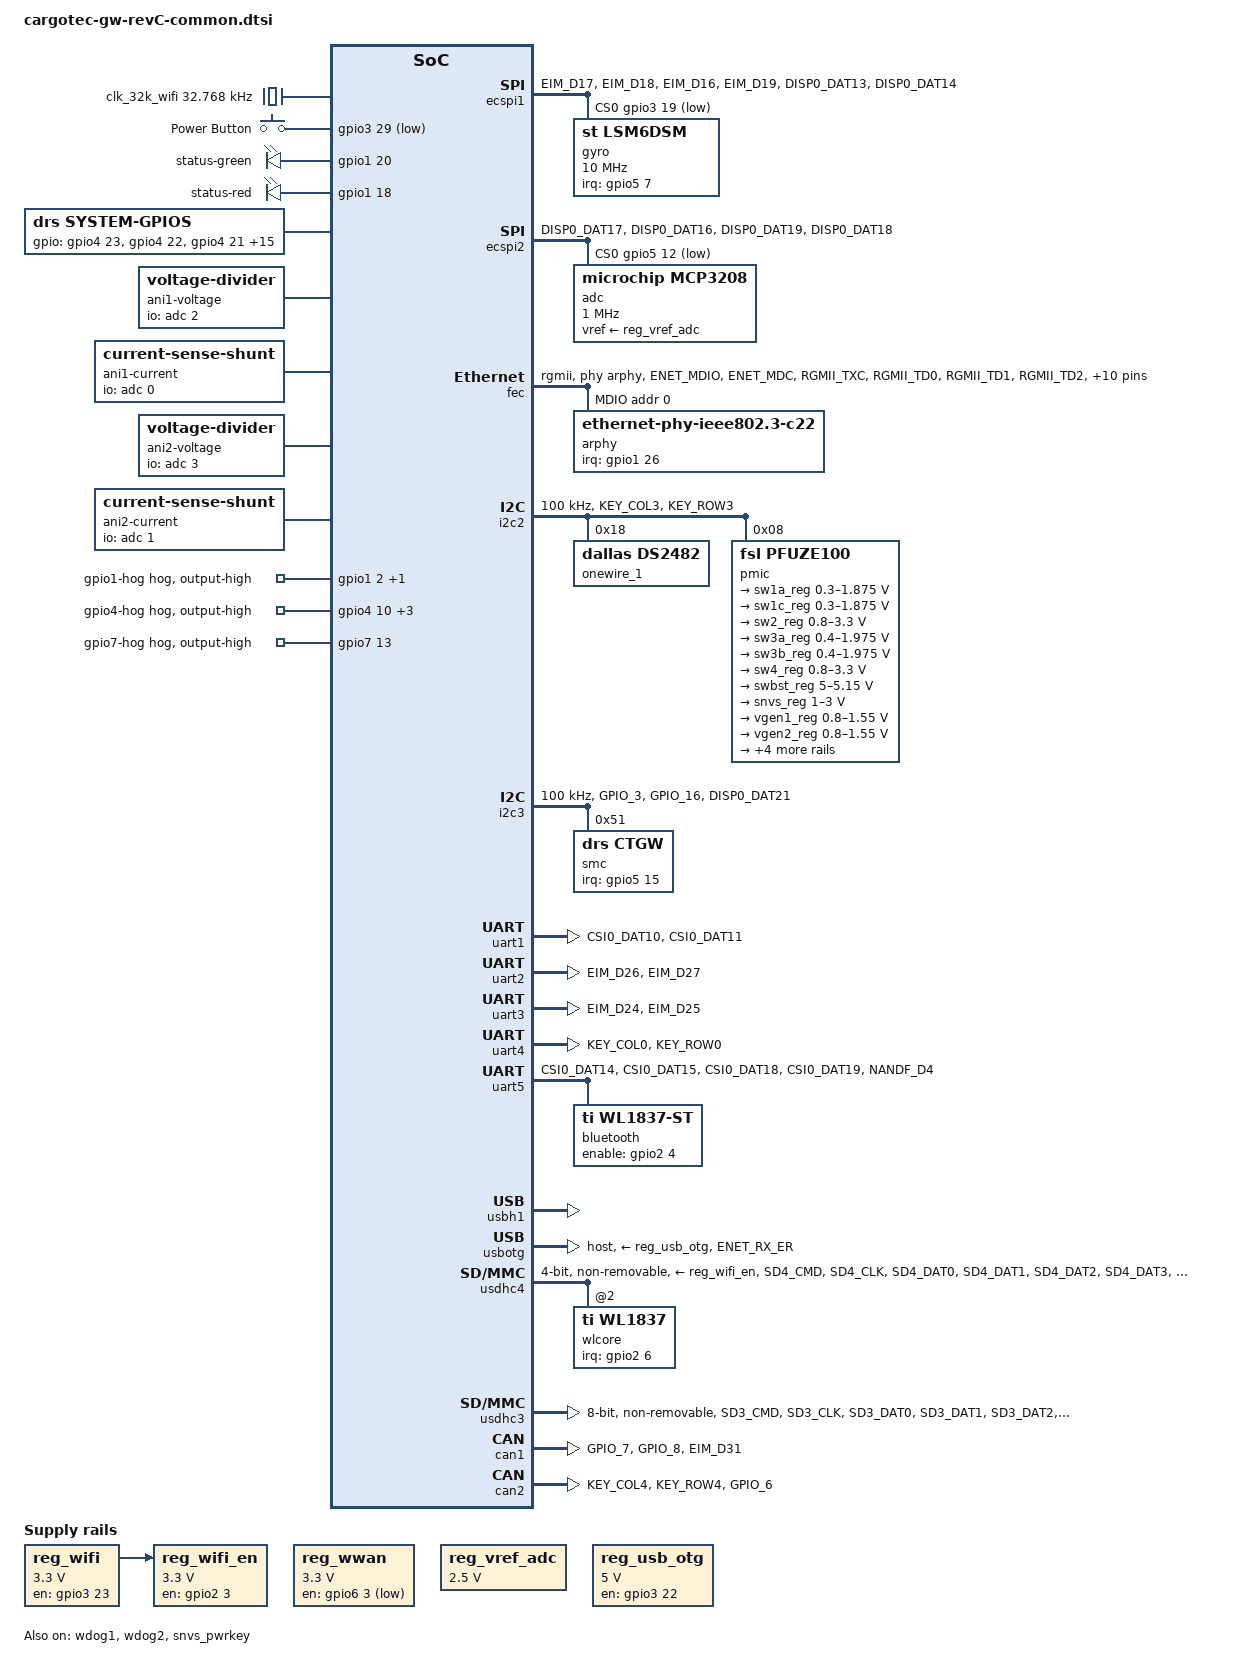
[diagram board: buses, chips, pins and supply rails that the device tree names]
/*
 * Copyright DATA RESPONS AS
 *
 * The code contained herein is licensed under the GNU General Public
 * License. You may obtain a copy of the GNU General Public License
 * Version 2 or later at the following locations:
 *
 * http://www.opensource.org/licenses/gpl-license.html
 * http://www.gnu.org/copyleft/gpl.html
 */

#include <dt-bindings/gpio/gpio.h>
#include <dt-bindings/interrupt-controller/irq.h>
#include <dt-bindings/input/input.h>

/ {
	aliases {
		rtc0 = &smc;
		rtc1 = &snvs_rtc;
		mmc0 = &usdhc3;
		mmc1 = &usdhc4;
	};

	chosen {
		stdout-path = &uart1;
	};

	reg_wifi: wifi_pwr {
		compatible = "regulator-fixed";
		pinctrl-names = "default";
		pinctrl-0 = <&pinctrl_reg_wifi>;
		regulator-name = "reg_wifi";
		regulator-min-microvolt = <3300000>;
		regulator-max-microvolt = <3300000>;
		gpio = <&gpio3 23 GPIO_ACTIVE_HIGH>;
		enable-active-high;
		regulator-always-on;
	};

	reg_wifi_en: wifi_enable {
		compatible = "regulator-fixed";
		pinctrl-names = "default";
		pinctrl-0 = <&pinctrl_reg_wifi_en>;
		regulator-name = "reg_wifi_enable";
		regulator-min-microvolt = <3300000>;
		regulator-max-microvolt = <3300000>;
		gpio = <&gpio2 3 GPIO_ACTIVE_HIGH>;
		enable-active-high;
		vin-supply = <&reg_wifi>;
		startup-delay-us = <50000>;
	};

	reg_wwan: wwan_enable {
		compatible = "regulator-fixed";
		pinctrl-names = "default";
		pinctrl-0 = <&pinctrl_reg_wwan>;
		regulator-name = "reg_wwan_enable";
		regulator-min-microvolt = <3300000>;
		regulator-max-microvolt = <3300000>;
		gpio = <&gpio6 3 GPIO_ACTIVE_HIGH>;
		enable-active-low;
		startup-delay-us = <300>;
		regulator-always-on;
	};

	reg_vref_adc: regulator-vref-adc {
		compatible = "regulator-fixed";
		regulator-name = "vref-adc";
		regulator-min-microvolt = <2500000>;
		regulator-max-microvolt = <2500000>;
	};

	reg_usb_otg: reg-usb-otg {
		compatible = "regulator-fixed";
		pinctrl-names = "default";
		pinctrl-0 = <&pinctrl_reg_usb_otg>;
		regulator-name = "reg_usb_otg";
		regulator-min-microvolt = <5000000>;
		regulator-max-microvolt = <5000000>;
		gpio = <&gpio3 22 GPIO_ACTIVE_HIGH>;
		enable-active-high;
		regulator-always-on;
	};

	clk_32k_wifi: clk-32k-wifi {
		compatible = "fixed-clock";
		#clock-cells = <0>;
		clock-frequency = <32768>;
	};

	gpio-keys {
		compatible = "gpio-keys";
		pinctrl-names = "default";
		pinctrl-0 = <&pinctrl_gpio_keys>;
		power {
			label = "Power Button";
			gpios = <&gpio3 29 GPIO_ACTIVE_LOW>;
			wakeup-source;
			linux,code = <KEY_POWER>;
		};
	};

	leds {
    	compatible = "gpio-leds";
		pinctrl-names = "default";
		pinctrl-0 = <&pinctrl_leds>;
		status-green {
			label = "status-green";
			gpios = <&gpio1 20 GPIO_ACTIVE_HIGH>;
		};
		status-red {
			label = "status-red";
			gpios = <&gpio1 18 GPIO_ACTIVE_HIGH>;
		};
    };

	system-gpios {
		pinctrl-names = "default";
		pinctrl-0 = <&pinctrl_system>;
		compatible = "drs,system-gpios";

		gpios = <&gpio4 23 GPIO_ACTIVE_HIGH>,
				<&gpio4 22 GPIO_ACTIVE_HIGH>,
				<&gpio4 21 GPIO_ACTIVE_HIGH>,
				<&gpio5 16 GPIO_ACTIVE_HIGH>,
				<&gpio5 17 GPIO_ACTIVE_HIGH>,
				<&gpio1 12 GPIO_ACTIVE_HIGH>,
				<&gpio1 14 GPIO_ACTIVE_HIGH>,
				<&gpio1 13 GPIO_ACTIVE_HIGH>,
				<&gpio4 26 GPIO_ACTIVE_HIGH>,
				<&gpio4 24 GPIO_ACTIVE_HIGH>,
				<&gpio4 25 GPIO_ACTIVE_HIGH>,
				<&gpio1 4 GPIO_ACTIVE_HIGH>,
				<&gpio6 2 GPIO_ACTIVE_HIGH>,
				<&gpio4 17 GPIO_ACTIVE_HIGH>,
				<&gpio4 27 GPIO_ACTIVE_LOW>,
				<&smc 0 GPIO_ACTIVE_HIGH>,
				<&smc 1 GPIO_ACTIVE_HIGH>,
				<&smc 2 GPIO_ACTIVE_HIGH>;
		gpio-line-names =	"sys_hw_setting0",
							"sys_hw_setting1",
							"sys_hw_setting2",
							"sys_ani1_current",
							"sys_ani2_current",
							"sys_gpi1",
							"sys_gpi2",
							"sys_gpi3",
							"sys_gps_antenna_power",
							"sys_gpo1",
							"sys_gpo2",
							"sys_mcu_reset",
							"sys_mcu_pwr_override",
							"sys_mcu_boot0",
							"sys_wwan_rst",
							"sys_gpo3",
							"sys_gpo4",
							"sys_ignition";
	};

	ani1-voltage {
		compatible = "voltage-divider";
		io-channels = <&adc 2>;
		output-ohms = <220>;
		full-ohms = <970>;
	};

	ani1-current {
		compatible = "current-sense-shunt";
		io-channels = <&adc 0>;
		shunt-resistor-micro-ohms = <100000000>;
	};

	ani2-voltage {
		compatible = "voltage-divider";
		io-channels = <&adc 3>;
		output-ohms = <220>;
		full-ohms = <970>;
	};

	ani2-current {
		compatible = "current-sense-shunt";
		io-channels = <&adc 1>;
		shunt-resistor-micro-ohms = <100000000>;
	};
};

&gpio1 {
	pinctrl-names = "default";
	pinctrl-0 = <&pinctrl_gpio1_hog>;

	gpio1-hog {
		gpio-hog;
		gpios = <2 GPIO_ACTIVE_HIGH>,
				<9 GPIO_ACTIVE_HIGH>;
		output-high;
		line-name = "gpio1-hog";
	};
};

&gpio4 {
	pinctrl-names = "default";
	pinctrl-0 = <&pinctrl_gpio4_hog>;

	gpio4-hog {
		gpio-hog;
		gpios = <10 GPIO_ACTIVE_HIGH>,
				<12 GPIO_ACTIVE_HIGH>,
				<18 GPIO_ACTIVE_HIGH>,
				<19 GPIO_ACTIVE_HIGH>;
		output-high;
		line-name = "gpio4-hog";
	};
};

&gpio7 {
	pinctrl-names = "default";
	pinctrl-0 = <&pinctrl_gpio7_hog>;

	gpio7-hog {
		gpio-hog;
		gpios = <13 GPIO_ACTIVE_HIGH>;
		output-high;
		line-name = "gpio7-hog";
	};
};

&ecspi1 {
	pinctrl-names = "default";
	pinctrl-0 = <&pinctrl_ecspi1>;
	cs-gpios = <&gpio3 19 GPIO_ACTIVE_LOW>;
	status = "okay";

	gyro: st-gyro-spi@0 {
		reg = <0>;
		compatible = "st,lsm6dsm";
		spi-max-frequency = <10000000>;
		interrupt-parent = <&gpio5>;
		interrupts = <7 IRQ_TYPE_EDGE_RISING>, <8 IRQ_TYPE_EDGE_RISING>;
	};
};

&ecspi2 {
	pinctrl-names = "default";
	pinctrl-0 = <&pinctrl_ecspi2>;
	cs-gpios = <&gpio5 12 GPIO_ACTIVE_LOW>;
	status = "okay";

	adc: mcp3208@0 {
		#io-channel-cells = <1>;
		reg = <0>;
		compatible = "microchip,mcp3208";
		spi-max-frequency = <1000000>;
		vref-supply = <&reg_vref_adc>;
	};
};

&fec {
	pinctrl-names = "default";
	pinctrl-0 = <&pinctrl_enet>;
	phy-mode = "rgmii";
	status = "okay";
	phy-handle = <&arphy>;
	mdio {
		#address-cells = <1>;
		#size-cells = <0>;
		arphy: ethernet-phy@0 {
			compatible = "ethernet-phy-ieee802.3-c22";
			reg = <0x0>;
			max-speed = <100>;
			interrupt-parent = <&gpio1>;
			interrupts = <26 IRQ_TYPE_EDGE_FALLING>;
		};
	};
};

&wdog1 {
	status = "okay";
};

&wdog2 {
	pinctrl-names = "default";
	pinctrl-0 = <&pinctrl_wdog>;
	status = "okay";
};

&i2c2 {
	clock-frequency = <100000>;
	pinctrl-names = "default";
	pinctrl-0 = <&pinctrl_i2c2>;
	status = "okay";

	onewire_1: ds2482@18 {
		reg = <0x18>;
		compatible = "dallas,ds2482";
	};

	pmic: pfuze100@8 {
		compatible = "fsl,pfuze100";
		reg = <0x08>;

		regulators {
			sw1a_reg: sw1ab {
				regulator-min-microvolt = <300000>;
				regulator-max-microvolt = <1875000>;
				regulator-boot-on;
				regulator-always-on;
				regulator-ramp-delay = <6250>;
			};

			sw1c_reg: sw1c {
				regulator-min-microvolt = <300000>;
				regulator-max-microvolt = <1875000>;
				regulator-boot-on;
				regulator-always-on;
				regulator-ramp-delay = <6250>;
			};

			sw2_reg: sw2 {
				regulator-min-microvolt = <800000>;
				regulator-max-microvolt = <3300000>;
				regulator-boot-on;
				regulator-always-on;
			};

			sw3a_reg: sw3a {
				regulator-min-microvolt = <400000>;
				regulator-max-microvolt = <1975000>;
				regulator-boot-on;
				regulator-always-on;
			};

			sw3b_reg: sw3b {
				regulator-min-microvolt = <400000>;
				regulator-max-microvolt = <1975000>;
				regulator-boot-on;
				regulator-always-on;
			};

			sw4_reg: sw4 {
				regulator-min-microvolt = <800000>;
				regulator-max-microvolt = <3300000>;
				regulator-boot-on;
				regulator-always-on;
			};

			swbst_reg: swbst {
				regulator-min-microvolt = <5000000>;
				regulator-max-microvolt = <5150000>;
				regulator-boot-on;
				regulator-always-on;
			};

			snvs_reg: vsnvs {
				regulator-min-microvolt = <1000000>;
				regulator-max-microvolt = <3000000>;
				regulator-boot-on;
				regulator-always-on;
			};

			vref_reg: vrefddr {
				regulator-boot-on;
				regulator-always-on;
			};

			vgen1_reg: vgen1 {
				regulator-min-microvolt = <800000>;
				regulator-max-microvolt = <1550000>;
			};

			vgen2_reg: vgen2 {
				regulator-min-microvolt = <800000>;
				regulator-max-microvolt = <1550000>;
			};

			vgen3_reg: vgen3 {
				regulator-min-microvolt = <1800000>;
				regulator-max-microvolt = <3300000>;
			};

			vgen4_reg: vgen4 {
				regulator-min-microvolt = <1800000>;
				regulator-max-microvolt = <3300000>;
				regulator-always-on;
			};

			vgen5_reg: vgen5 {
				regulator-min-microvolt = <1800000>;
				regulator-max-microvolt = <3300000>;
				regulator-always-on;
			};

			vgen6_reg: vgen6 {
				regulator-min-microvolt = <1800000>;
				regulator-max-microvolt = <3300000>;
				regulator-boot-on;
				regulator-always-on;
			};
		};
	};
};

&i2c3 {
	clock-frequency = <100000>;
	pinctrl-names = "default";
	pinctrl-0 = <&pinctrl_i2c3>;
	status = "okay";

	smc: cargotec_smc@51 {
		compatible = "drs,ctgw";
		reg = <0x51>;
		#gpio-cells = <2>;
		gpio-controller;
		interrupt-parent = <&gpio5>;
		interrupts = <15 IRQ_TYPE_EDGE_FALLING>;
		has-rtc;
	};
};

&uart1 {
	pinctrl-names = "default";
	pinctrl-0 = <&pinctrl_uart1>;
	status = "okay";
};

&uart2 {
	pinctrl-names = "default";
	pinctrl-0 = <&pinctrl_uart2>;
	status = "okay";
};

&uart3 {
	pinctrl-names = "default";
	pinctrl-0 = <&pinctrl_uart3>;
	status = "okay";
};

&uart4 {
	pinctrl-names = "default";
	pinctrl-0 = <&pinctrl_uart4>;
	status = "okay";
};

&uart5 {
	pinctrl-names = "default";
	pinctrl-0 = <&pinctrl_uart5>;
	uart-has-rtscts;
	status = "okay";

	bluetooth {
        compatible = "ti,wl1837-st";
        enable-gpios = <&gpio2 4 GPIO_ACTIVE_HIGH>;
        clocks = <&clk_32k_wifi>;
        clock-names = "ext_clock";
	};
};

&reg_arm {
	vin-supply = <&sw1a_reg>;
};

&reg_pu {
	vin-supply = <&sw1c_reg>;
};

&reg_soc {
	vin-supply = <&sw1c_reg>;
};

&snvs_poweroff {
	status = "okay";
};

&snvs_pwrkey {
	status = "okay";
};

&usbh1 {
	status = "okay";
	disable-over-current;
};

&usbotg {
	pinctrl-names = "default";
	pinctrl-0 = <&pinctrl_usbotg>;
	status = "okay";
	vbus-supply = <&reg_usb_otg>;
	disable-over-current;
	dr_mode = "host";
};

&usdhc4 {
	pinctrl-names = "default";
	pinctrl-0 = <&pinctrl_usdhc4>;
	bus-width = <4>;
	non-removable;
	no-1-8-v;
	keep-power-in-suspend;
	cap-power-off-card;
	max-frequency = <25000000>;
	#address-cells = <1>;
	#size-cells = <0>;
	status = "okay";
	vmmc-supply = <&reg_wifi_en>;

	wlcore: wlcore@2 {
		compatible = "ti,wl1837";
		reg = <2>;
		interrupt-parent = <&gpio2>;
		interrupts = <6 IRQ_TYPE_LEVEL_HIGH>;
		tcxo-clock-frequency = <26000000>;
	};
};

&usdhc3 {
	pinctrl-names = "default";
	pinctrl-0 = <&pinctrl_usdhc3>;
	bus-width = <8>;
	non-removable;
	no-1-8-v;
	keep-power-in-suspend;
	status = "okay";
};

&can1 {
	pinctrl-names = "default";
    pinctrl-0 = <&pinctrl_flexcan1>;
    termination-gpios = <&gpio3 31 GPIO_ACTIVE_HIGH>;
	termination-ohms = <120>;
    status = "okay";
};

&can2 {
	pinctrl-names = "default";
    pinctrl-0 = <&pinctrl_flexcan2>;
    termination-gpios = <&gpio1 6 GPIO_ACTIVE_HIGH>;
	termination-ohms = <120>;
    status = "okay";
};

&iomuxc {
	pinctrl_system: systemgrp {
		fsl,pins = <
			MX6QDL_PAD_DISP0_DAT0__GPIO4_IO21	0x80000000		/* HW Setting 0 */
			MX6QDL_PAD_DISP0_DAT1__GPIO4_IO22	0x80000000		/* HW Setting 1 */
			MX6QDL_PAD_DISP0_DAT2__GPIO4_IO23	0x80000000		/* HW Setting 2 */
			MX6QDL_PAD_DISP0_DAT22__GPIO5_IO16	0x00002060		/* EN_ANI1 */
			MX6QDL_PAD_DISP0_DAT23__GPIO5_IO17	0x00002060		/* EN_ANI2 */
			MX6QDL_PAD_DISP0_DAT3__GPIO4_IO24	0x00000060		/* GP_EN--GPO1  */
			MX6QDL_PAD_DISP0_DAT4__GPIO4_IO25	0x00000060		/* GP_EN--GPO2  */
			MX6QDL_PAD_SD2_DAT3__GPIO1_IO12     0x12000			/* GPI_1 */
			MX6QDL_PAD_SD2_DAT1__GPIO1_IO14     0x12000			/* GPI_2 */
			MX6QDL_PAD_SD2_DAT2__GPIO1_IO13     0x12000			/* GPI_3 */
			MX6QDL_PAD_DISP0_DAT6__GPIO4_IO27	0x0000b0b0 		/* GP_nPRST_WWAN */
			MX6QDL_PAD_DISP0_DAT5__GPIO4_IO26	0x00002060		/* GP_EN_PWR--ANT_GPS */
			MX6QDL_PAD_GPIO_4__GPIO1_IO04		0x80000000		/* MCU_RESET (active high)*/
			MX6QDL_PAD_DI0_PIN15__GPIO4_IO17	0x2070			/* MCU Boot select (active high) */
			MX6QDL_PAD_CSI0_DAT16__GPIO6_IO02	0x2070			/* GP-EN--BUCK_5V--CPU (active high) */
			/* unused pins */
			/*MX6QDL_PAD_DISP0_DAT7__GPIO4_IO28	0x0000b0b0*/	/* GP_nDISABLE_WWAN   */
			/*MX6QDL_PAD_DISP0_DAT8__GPIO4_IO29	0x0000b0b0*/	/* GP_nWAKE_L--WWAN   */
			/*MX6QDL_PAD_DISP0_DAT9__GPIO4_IO30	0x00002060*/	/* LED_nWWAN   */
			/*MX6QDL_PAD_ENET_CRS_DV__GPIO1_IO25  0x80000000*/	/* Phy reset (low) */
			/*MX6QDL_PAD_KEY_COL1__GPIO4_IO08 	0x1b060*/		/* TPM nRESET */
			/*MX6QDL_PAD_DISP0_DAT10__GPIO4_IO31 	0x1b060*/	/* GP_Status--CPU */
			/*MX6QDL_PAD_NANDF_RB0__GPIO6_IO10    0x0001b000*/	/* PMIC_INT_B */
			/*MX6QDL_PAD_NANDF_D5__GPIO2_IO05     0x80000000*/	/* WL_IRQ (NA) */
			/*MX6QDL_PAD_DISP0_DAT11__GPIO5_IO05 	0x1b040*/	/* RTC */
            /*MX6QDL_PAD_DISP0_DAT12__GPIO5_IO06 	0x1b040*/	/* RTC */
			/*MX6QDL_PAD_SD1_DAT0__GPIO1_IO16		0x80000000*//* CAN1_ERR_N */
			/*MX6QDL_PAD_SD1_DAT1__GPIO1_IO17		0x80000000*//* CAN2_ERR_N */
		>;
	};

	pinctrl_ecspi1: ecspi1grp {
		fsl,pins = <
			MX6QDL_PAD_EIM_D17__ECSPI1_MISO		0x100b1
			MX6QDL_PAD_EIM_D18__ECSPI1_MOSI		0x100b1
			MX6QDL_PAD_EIM_D16__ECSPI1_SCLK		0x100b1
			MX6QDL_PAD_EIM_D19__GPIO3_IO19		0x100b1			/* Gyro CS */
			MX6QDL_PAD_DISP0_DAT13__GPIO5_IO07 	0x1b040			/* Gyro IRQ */
			MX6QDL_PAD_DISP0_DAT14__GPIO5_IO08 	0x1b040			/* Gyro IRQ */
		>;
	};

	pinctrl_ecspi2: ecspi2grp {
		fsl,pins = <
			MX6QDL_PAD_DISP0_DAT17__ECSPI2_MISO  0x100b1
			MX6QDL_PAD_DISP0_DAT16__ECSPI2_MOSI 0x100b1
			MX6QDL_PAD_DISP0_DAT19__ECSPI2_SCLK 0x100b1
			MX6QDL_PAD_DISP0_DAT18__GPIO5_IO12  0x100b1		/* ADC CS */
			/*MX6QDL_PAD_DISP0_DAT15__GPIO5_IO09  0x100b1*/ /* TPM CS */
		>;
	};

	pinctrl_flexcan1: flexcan1grp {
		fsl,pins = <
			MX6QDL_PAD_GPIO_7__FLEXCAN1_TX 	0x1b0b1
			MX6QDL_PAD_GPIO_8__FLEXCAN1_RX	0x1b0b1
			MX6QDL_PAD_EIM_D31__GPIO3_IO31  0x00000068			/* GP_CAN1_RES_EN */
		>;
	};

	pinctrl_flexcan2: flexcan2grp {
		fsl,pins = <
			MX6QDL_PAD_KEY_COL4__FLEXCAN2_TX 	0x1b0b1
			MX6QDL_PAD_KEY_ROW4__FLEXCAN2_RX	0x1b0b1
			MX6QDL_PAD_GPIO_6__GPIO1_IO06	0x00000068			/* CAN2_RES */
		>;
	};

	pinctrl_uart1: uart1grp {
		fsl,pins = <
			MX6QDL_PAD_CSI0_DAT10__UART1_TX_DATA    0x1b0b1
			MX6QDL_PAD_CSI0_DAT11__UART1_RX_DATA    0x1b0b1
		>;
	};

	pinctrl_uart2: uart2grp {
		fsl,pins = <
			MX6QDL_PAD_EIM_D26__UART2_TX_DATA    0x1b0b1
			MX6QDL_PAD_EIM_D27__UART2_RX_DATA    0x1b0b1
		>;
	};

	pinctrl_uart3: uart3grp {
		fsl,pins = <
			MX6QDL_PAD_EIM_D24__UART3_TX_DATA   0x1b0b1
			MX6QDL_PAD_EIM_D25__UART3_RX_DATA   0x1b0b1
		>;
	};

	pinctrl_uart4: uart4grp {
		fsl,pins = <
			MX6QDL_PAD_KEY_COL0__UART4_TX_DATA  0x1b0b1
			MX6QDL_PAD_KEY_ROW0__UART4_RX_DATA  0x1b0b1
		>;
	};

	pinctrl_uart5: uart5grp {
		fsl,pins = <
			MX6QDL_PAD_CSI0_DAT14__UART5_TX_DATA 0x1b0b1
			MX6QDL_PAD_CSI0_DAT15__UART5_RX_DATA 0x1b0b1
			MX6QDL_PAD_CSI0_DAT18__UART5_RTS_B   0x1b0b1
			MX6QDL_PAD_CSI0_DAT19__UART5_CTS_B   0x1b0b1
			MX6QDL_PAD_NANDF_D4__GPIO2_IO04     0x00002070      /* BT_REG_ON (Bluetooth power) */
		>;
	};

	pinctrl_usbotg: usbotggrp {
		fsl,pins = <
			MX6QDL_PAD_ENET_RX_ER__USB_OTG_ID   0x17059
			/*MX6QDL_PAD_KEY_ROW1__GPIO4_IO09		0x17059*/			/* USB_OTG_OC */
		>;
	};

	pinctrl_usdhc3: usdhc3grp {
		fsl,pins = <
			MX6QDL_PAD_SD3_CMD__SD3_CMD     	0x17059
			MX6QDL_PAD_SD3_CLK__SD3_CLK     	0x10059
			MX6QDL_PAD_SD3_DAT0__SD3_DATA0      0x17059
			MX6QDL_PAD_SD3_DAT1__SD3_DATA1      0x17059
			MX6QDL_PAD_SD3_DAT2__SD3_DATA2      0x17059
			MX6QDL_PAD_SD3_DAT3__SD3_DATA3      0x17059
			MX6QDL_PAD_SD3_DAT4__SD3_DATA4      0x17059
			MX6QDL_PAD_SD3_DAT5__SD3_DATA5      0x17059
			MX6QDL_PAD_SD3_DAT6__SD3_DATA6      0x17059
			MX6QDL_PAD_SD3_DAT7__SD3_DATA7      0x17059
			MX6QDL_PAD_SD3_RST__SD3_RESET     	0x17059
		>;
	};

	pinctrl_usdhc4: usdhc4grp {
		fsl,pins = <
			MX6QDL_PAD_SD4_CMD__SD4_CMD     	0x17059
			MX6QDL_PAD_SD4_CLK__SD4_CLK     	0x10059
			MX6QDL_PAD_SD4_DAT0__SD4_DATA0      0x17059
			MX6QDL_PAD_SD4_DAT1__SD4_DATA1      0x17059
			MX6QDL_PAD_SD4_DAT2__SD4_DATA2      0x17059
			MX6QDL_PAD_SD4_DAT3__SD4_DATA3      0x17059
			MX6QDL_PAD_NANDF_D6__GPIO2_IO06     0x000100b1      /* GP--WL_HOST_WAKE (Wifi irq) */
		>;
	};

	pinctrl_i2c2: i2c2grp {
		fsl,pins = <
			MX6QDL_PAD_KEY_COL3__I2C2_SCL 0x4001b8b1
			MX6QDL_PAD_KEY_ROW3__I2C2_SDA 0x4001b8b1
		>;
	};

	pinctrl_i2c3: i2c3grp {
		fsl,pins = <
			MX6QDL_PAD_GPIO_3__I2C3_SCL 0x4001b8b1
			MX6QDL_PAD_GPIO_16__I2C3_SDA 0x4001b8b1
			MX6QDL_PAD_DISP0_DAT21__GPIO5_IO15	0x0001b000		/* GP_NINT_MCU */
		>;
	};

	pinctrl_enet: enetgrp-lb2 {
		fsl,pins = <
			MX6QDL_PAD_ENET_MDIO__ENET_MDIO       0x1b0b0
			MX6QDL_PAD_ENET_MDC__ENET_MDC         0x1b0b0
			MX6QDL_PAD_RGMII_TXC__RGMII_TXC       0x1b0b0
			MX6QDL_PAD_RGMII_TD0__RGMII_TD0       0x1b0b0
			MX6QDL_PAD_RGMII_TD1__RGMII_TD1       0x1b0b0
			MX6QDL_PAD_RGMII_TD2__RGMII_TD2       0x1b0b0
			MX6QDL_PAD_RGMII_TD3__RGMII_TD3       0x1b0b0
			MX6QDL_PAD_RGMII_TX_CTL__RGMII_TX_CTL 0x1b0b0
			MX6QDL_PAD_ENET_REF_CLK__ENET_TX_CLK  0x40000000
			MX6QDL_PAD_RGMII_RXC__RGMII_RXC       0x1b0b0
			MX6QDL_PAD_RGMII_RD0__RGMII_RD0       0x1b0b0
			MX6QDL_PAD_RGMII_RD1__RGMII_RD1       0x1b0b0
			MX6QDL_PAD_RGMII_RD2__RGMII_RD2       0x1b0b0
			MX6QDL_PAD_RGMII_RD3__RGMII_RD3       0x1b0b0
			MX6QDL_PAD_RGMII_RX_CTL__RGMII_RX_CTL 0x1b0b0
			MX6QDL_PAD_ENET_RXD1__GPIO1_IO26    0x80000000      /* Phy IRQ */
		>;
	};

	pinctrl_reg_wifi: regwifigrp {
		fsl,pins = <
			MX6QDL_PAD_EIM_D23__GPIO3_IO23      0x00000038      /* GP--WL_BAT_PWR_EN */
		>;
	};

	pinctrl_reg_wifi_en: regwifiengrp {
		fsl,pins = <
			MX6QDL_PAD_NANDF_D3__GPIO2_IO03     0x00002070      /* WL_REG_ON (WiFI power) */
		>;
	};

	pinctrl_reg_wwan: regwwangrp {
		fsl,pins = <
			MX6QDL_PAD_CSI0_DAT17__GPIO6_IO03	0x1b0b1			/* GP-PCIE_PWR_nEN (active low) */
		>;
	};

	pinctrl_gpio1_hog: gpio1hoggrp {
		fsl,pins = <
			MX6QDL_PAD_GPIO_9__GPIO1_IO09	0x80000000			/* CAN2_EN */
			MX6QDL_PAD_GPIO_2__GPIO1_IO02	0x80000000			/* CAN2_STB */
		>;
	};

	pinctrl_gpio4_hog: gpio4hoggrp {
		fsl,pins = <
			MX6QDL_PAD_KEY_COL2__GPIO4_IO10	0x80000000			/* CAN1_EN */
			MX6QDL_PAD_KEY_ROW2__GPIO4_IO11	0x80000000			/* CAN1_STB */
			MX6QDL_PAD_DI0_PIN2__GPIO4_IO18	0x1b0b1				/* CAN1_WAKE */
			MX6QDL_PAD_DI0_PIN3__GPIO4_IO19	0x1b0b1				/* CAN2_WAKE */
		>;
	};

	pinctrl_gpio7_hog: gpio7hoggrp {
		fsl,pins = <
			MX6QDL_PAD_GPIO_18__GPIO7_IO13      0x00000068		/* GP-EN--ISO_UART */
		>;
	};

	pinctrl_leds: ledsgrp {
		fsl,pins = <
			MX6QDL_PAD_SD1_CMD__GPIO1_IO18		0x2070			/* GP_LED_R_STATUS */
			MX6QDL_PAD_SD1_CLK__GPIO1_IO20		0x2070			/* GP_LED_G_STATUS */
		>;
	};

	pinctrl_gpio_keys: gpiokeysgrp {
		fsl,pins = <
			MX6QDL_PAD_EIM_D29__GPIO3_IO29      0x0001b000      /* PPWR_BTN_SNS */
		>;
	};

	pinctrl_reg_usb_otg: regusbotggrp {
		fsl,pins = <
				MX6QDL_PAD_EIM_D22__GPIO3_IO22	0x2070 			/* USB_OTG_PWR_EN */
		>;
	};

	pinctrl_wdog: wdoggrp {
		fsl,pins = <
			MX6QDL_PAD_GPIO_1__WDOG2_B		0x1b0b0
		>;
	};
};
